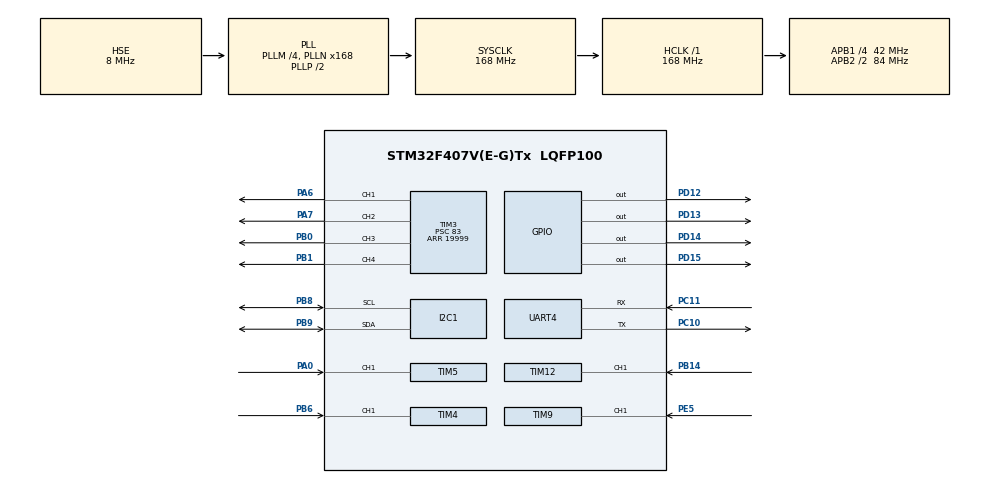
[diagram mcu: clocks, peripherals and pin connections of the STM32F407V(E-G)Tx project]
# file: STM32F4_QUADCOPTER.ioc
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I2C1.I2C_Mode=I2C_Fast
Mcu.Family=STM32F4
Mcu.Name=STM32F407V(E-G)Tx
Mcu.Package=LQFP100
NVIC.PriorityGroup=NVIC_PRIORITYGROUP_4
NVIC.TIM1_BRK_TIM9_IRQn=true\:0\:0\:false\:false\:true\:true\:true
NVIC.TIM2_IRQn=true\:0\:0\:false\:false\:true\:true\:true
NVIC.TIM4_IRQn=true\:0\:0\:false\:false\:true\:true\:true
NVIC.TIM5_IRQn=true\:0\:0\:false\:false\:true\:true\:true
NVIC.TIM8_BRK_TIM12_IRQn=true\:0\:0\:false\:false\:true\:true\:true
PA0-WKUP.GPIO_Speed=GPIO_SPEED_FREQ_VERY_HIGH
PA0-WKUP.Signal=S_TIM5_CH1
PA6.GPIO_Speed=GPIO_SPEED_FREQ_VERY_HIGH
PA6.Signal=S_TIM3_CH1
PA7.GPIO_Speed=GPIO_SPEED_FREQ_VERY_HIGH
PA7.Signal=S_TIM3_CH2
PB0.GPIO_Speed=GPIO_SPEED_FREQ_VERY_HIGH
PB0.Signal=S_TIM3_CH3
PB1.GPIO_Speed=GPIO_SPEED_FREQ_VERY_HIGH
PB1.Signal=S_TIM3_CH4
PB14.GPIO_Speed=GPIO_SPEED_FREQ_VERY_HIGH
PB14.Signal=S_TIM12_CH1
PB6.GPIO_Speed=GPIO_SPEED_FREQ_VERY_HIGH
PB6.Signal=S_TIM4_CH1
PB8.Mode=I2C
PB8.Signal=I2C1_SCL
PB9.Mode=I2C
PB9.Signal=I2C1_SDA
PC10.Mode=Asynchronous
PC10.Signal=UART4_TX
PC11.Mode=Asynchronous
PC11.Signal=UART4_RX
PD12.GPIO_Speed=GPIO_SPEED_FREQ_VERY_HIGH
PD12.PinState=GPIO_PIN_RESET
PD12.Signal=GPIO_Output
PD13.GPIO_Speed=GPIO_SPEED_FREQ_VERY_HIGH
PD13.Signal=GPIO_Output
PD14.GPIO_Speed=GPIO_SPEED_FREQ_VERY_HIGH
PD14.Signal=GPIO_Output
PD15.GPIO_Speed=GPIO_SPEED_FREQ_VERY_HIGH
PD15.Signal=GPIO_Output
PE5.GPIO_Speed=GPIO_SPEED_FREQ_VERY_HIGH
PE5.Signal=S_TIM9_CH1
PH0-OSC_IN.Mode=HSE-External-Oscillator
PH0-OSC_IN.Signal=RCC_OSC_IN
PH1-OSC_OUT.Mode=HSE-External-Oscillator
PH1-OSC_OUT.Signal=RCC_OSC_OUT
ProjectManager.HeapSize=0x200
ProjectManager.StackSize=0x400
ProjectManager.TargetToolchain=STM32CubeIDE
RCC.48MHZClocksFreq_Value=84000000
RCC.AHBFreq_Value=168000000
RCC.APB1CLKDivider=RCC_HCLK_DIV4
RCC.APB1Freq_Value=42000000
RCC.APB1TimFreq_Value=84000000
RCC.APB2CLKDivider=RCC_HCLK_DIV2
RCC.APB2Freq_Value=84000000
RCC.APB2TimFreq_Value=168000000
RCC.CortexFreq_Value=168000000
RCC.HCLKFreq_Value=168000000
RCC.HSE_VALUE=8000000
RCC.HSI_VALUE=16000000
RCC.LSE_VALUE=32768
RCC.PLLM=4
RCC.PLLN=168
RCC.PLLSourceVirtual=RCC_PLLSOURCE_HSE
RCC.SYSCLKFreq_VALUE=168000000
RCC.SYSCLKSource=RCC_SYSCLKSOURCE_PLLCLK
RCC.VCOOutputFreq_Value=336000000
SH.S_TIM12_CH1.0=TIM12_CH1,TriggerSource_TI1FP1
SH.S_TIM12_CH1.1=TIM12_CH1,Input_Capture1_from_TI1
SH.S_TIM12_CH1.2=TIM12_CH1,Input_Capture2_from_TI1
SH.S_TIM3_CH1.0=TIM3_CH1,PWM Generation1 CH1
SH.S_TIM3_CH2.0=TIM3_CH2,PWM Generation2 CH2
SH.S_TIM3_CH3.0=TIM3_CH3,PWM Generation3 CH3
SH.S_TIM3_CH4.0=TIM3_CH4,PWM Generation4 CH4
SH.S_TIM4_CH1.0=TIM4_CH1,Input_Capture1_from_TI1
SH.S_TIM4_CH1.1=TIM4_CH1,Input_Capture2_from_TI1
SH.S_TIM4_CH1.2=TIM4_CH1,TriggerSource_TI1FP1
SH.S_TIM5_CH1.0=TIM5_CH1,TriggerSource_TI1FP1
SH.S_TIM5_CH1.1=TIM5_CH1,Input_Capture1_from_TI1
SH.S_TIM5_CH1.2=TIM5_CH1,Input_Capture2_from_TI1
SH.S_TIM9_CH1.0=TIM9_CH1,TriggerSource_TI1FP1
SH.S_TIM9_CH1.1=TIM9_CH1,Input_Capture1_from_TI1
SH.S_TIM9_CH1.2=TIM9_CH1,Input_Capture2_from_TI1
TIM12.Channel-Input_Capture1_from_TI1=TIM_CHANNEL_1
TIM12.Channel-Input_Capture2_from_TI1=TIM_CHANNEL_2
TIM12.ICPolarity_CH2=TIM_INPUTCHANNELPOLARITY_FALLING
TIM12.Period=0xffff
TIM12.Prescaler=999
TIM2.AutoReloadPreload=TIM_AUTORELOAD_PRELOAD_ENABLE
TIM2.Period=9
TIM2.Prescaler=8399
TIM3.AutoReloadPreload=TIM_AUTORELOAD_PRELOAD_ENABLE
TIM3.Channel-PWM\ Generation1\ CH1=TIM_CHANNEL_1
TIM3.Channel-PWM\ Generation2\ CH2=TIM_CHANNEL_2
TIM3.Channel-PWM\ Generation3\ CH3=TIM_CHANNEL_3
TIM3.Channel-PWM\ Generation4\ CH4=TIM_CHANNEL_4
TIM3.Period=19999
TIM3.Prescaler=83
TIM3.Pulse-PWM\ Generation1\ CH1=1000
TIM3.Pulse-PWM\ Generation2\ CH2=1000
TIM3.Pulse-PWM\ Generation3\ CH3=1000
TIM3.Pulse-PWM\ Generation4\ CH4=1000
TIM4.Channel-Input_Capture1_from_TI1=TIM_CHANNEL_1
TIM4.Channel-Input_Capture2_from_TI1=TIM_CHANNEL_2
TIM4.ICPolarity_CH2=TIM_INPUTCHANNELPOLARITY_FALLING
TIM4.Period=0xffff
TIM4.Prescaler=999
TIM5.Channel-Input_Capture1_from_TI1=TIM_CHANNEL_1
TIM5.Channel-Input_Capture2_from_TI1=TIM_CHANNEL_2
TIM5.ICPolarity_CH2=TIM_INPUTCHANNELPOLARITY_FALLING
TIM5.Period=0xffff
TIM5.Prescaler=999
TIM9.Channel-Input_Capture1_from_TI1=TIM_CHANNEL_1
TIM9.Channel-Input_Capture2_from_TI1=TIM_CHANNEL_2
TIM9.ICPolarity_CH2=TIM_INPUTCHANNELPOLARITY_FALLING
TIM9.Period=0xffff
TIM9.Prescaler=999
UART4.VirtualMode=Asynchronous
VP_TIM12_VS_ControllerModeReset.Mode=Reset Mode
VP_TIM2_VS_ClockSourceINT.Mode=Internal
VP_TIM3_VS_ClockSourceINT.Mode=Internal
VP_TIM4_VS_ControllerModeReset.Mode=Reset Mode
VP_TIM5_VS_ControllerModeReset.Mode=Reset Mode
VP_TIM9_VS_ControllerModeReset.Mode=Reset Mode
board=custom

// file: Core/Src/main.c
/* USER CODE BEGIN Header */
/**
  ******************************************************************************
  * @file           : main.c
  * @brief          : Main program body
  ******************************************************************************
  * @attention
  *
  * <h2><center>&copy; Copyright (c) 2020 STMicroelectronics.
  * All rights reserved.</center></h2>
  *
  * This software component is licensed by ST under BSD 3-Clause license,
  * the "License"; You may not use this file except in compliance with the
  * License. You may obtain a copy of the License at:
  *                        opensource.org/licenses/BSD-3-Clause
  *
  ******************************************************************************
  */
/* USER CODE END Header */

#include "main.h"

// Variable for I2C
I2C_HandleTypeDef hi2c1;

// Variable for Timer2
TIM_HandleTypeDef htim2;

// Variable for Timer3 control ESC
TIM_HandleTypeDef htim3;

// Variable for Timer4, 5, 9, 12 monitor RX controller
TIM_HandleTypeDef htim4;
TIM_HandleTypeDef htim5;
TIM_HandleTypeDef htim9;
TIM_HandleTypeDef htim12;

// Variable for UART communicate with CC2530
UART_HandleTypeDef huart4;

// Declare function in stdio.h
int	sprintf (char *__restrict, const char *__restrict, ...)
               _ATTRIBUTE ((__format__ (__printf__, 2, 3)));
// Declare function configure below main function
void SystemClock_Config(void);
static void MX_GPIO_Init(void);
static void MX_I2C1_Init(void);
static void MX_TIM2_Init(void);
static void MX_TIM3_Init(void);
static void MX_TIM4_Init(void);
static void MX_TIM5_Init(void);
static void MX_TIM9_Init(void);
static void MX_TIM12_Init(void);
static void MX_UART4_Init(void);
void HardFault_Handler(void);

// Declare function Delay polling
void EnableTiming(void);
void WaitASecond(void);
void WaitAFewMillis(int16_t millis);

// Declare function PWM control ESC with motor brushless
void InitialisePWM();
DutyCycle InitialisePWMChannel(uint8_t channel);

// Declare function ON/OFF Leds on board
void TurnOn(uint16_t);
void TurnOff(uint16_t);

// Declare function Remote control receive signal from RX controller
void InitialiseRemoteControls();
float ReadRemoteThrottle();
float ReadRemotePidProportional();
float ReadRemotePidIntegral();
float ReadResetAngularPosition();

// Declare function to read Angular position(Pitch, Roll, Yaw):
//   Current implemented using Accelerometer sensor (Position X(Pitch), Y(Roll))
//     Need improvement using Gyroscope sensor (Position X(P), Y(R), Z(Yaw))
void InitialiseAngularPosition();
void ReadAngularPosition();

// Declare function PID to calibration Quadcopter
struct Pid InitialisePid(float proportional, float integral, float differential);
float CalculatePidAdjustment(Pid* pid, float current, float target);

// Declare function for Panic
void InitialisePanicButton();
void ClearWarnings(void);

// Declare function for Analytics
void RecordIntegerMetric(uint8_t type, uint8_t loopReference, uint32_t value);
void RecordFloatMetric(uint8_t type, uint8_t loopReference, float value);
void FlushMetrics(void);
void FlushAllMetrics(void);

/* USER CODE BEGIN PFP */

// Interrupt call back for user implement process pwm input
void HAL_TIM_IC_CaptureCallback(TIM_HandleTypeDef *htim);
void HAL_TIM_PeriodElapsedCallback(TIM_HandleTypeDef *htim);

/* USER CODE END PFP */

int main(void)
{

  /* MCU Configuration--------------------------------------------------------*/

  /* Reset of all peripherals, Initializes the Flash interface and the Systick. */
  HAL_Init();

  /* Configure the system clock */
  SystemClock_Config();

  /* Initialize all configured peripherals */
  // Initialize for Leds on board
  MX_GPIO_Init();
  // Initialize for I2C communicate with sensor GY-85
  MX_I2C1_Init();
  // Initialize for timer count mili second
  MX_TIM2_Init();
  // Initialize for Timer control ESC with brushless motor
  MX_TIM3_Init();
  //Initialize 4 channel Input_Capture signal from RX controller
  MX_TIM4_Init();
  MX_TIM5_Init();
  MX_TIM9_Init();
  MX_TIM12_Init();
  // Initialize UART communicate with CC2530 transfer data to server Laptop
  MX_UART4_Init();
  // Enable timing to using delay function with DWDGT
  EnableTiming();

  /* USER CODE BEGIN 2 */
  // Set interrupt 4 timer for channel 1&2 with mode Input Capture
  HAL_TIM_IC_Start_IT(&htim4, TIM_CHANNEL_1);
  HAL_TIM_IC_Start_IT(&htim5, TIM_CHANNEL_1);
  HAL_TIM_IC_Start_IT(&htim9, TIM_CHANNEL_1);
  HAL_TIM_IC_Start_IT(&htim12, TIM_CHANNEL_1);
  HAL_TIM_IC_Start_IT(&htim4, TIM_CHANNEL_2);
  HAL_TIM_IC_Start_IT(&htim5, TIM_CHANNEL_2);
  HAL_TIM_IC_Start_IT(&htim9, TIM_CHANNEL_2);
  HAL_TIM_IC_Start_IT(&htim12, TIM_CHANNEL_2);

  // Initialize panic
  InitialisePanicButton();
  TurnOn(ORANGE_LED);

  // Initialize timer tick 1 mili second
  HAL_TIM_Base_Start_IT(&htim2);

  // Initialize PWM control ESC
  // Initialize PWM channel control ESC
	DutyCycle aProp = InitialisePWMChannel(1);
	DutyCycle cProp = InitialisePWMChannel(2);
	DutyCycle eProp = InitialisePWMChannel(3);
	DutyCycle bProp = InitialisePWMChannel(4);
  InitialisePWM();
  WaitAFewMillis(3000);

  //InitialiseI2C();	// PB.08 (SCL), PB.09 (SDA)
  Pid xAxisPid = InitialisePid(3, 0, 0);
  Pid yAxisPid = InitialisePid(3, 0, 0);

  // Initialize remote control detail channel RC and pin refer to file
  InitialiseRemoteControls();

  /* USER CODE END 2 */

  // Initialize InitialiseAngularPosition
  InitialiseAngularPosition();

  // Identify change status initialize done, next step waiting arming quad
  TurnOff(ORANGE_LED);
  TurnOn(YELLOW_LED);

  /* turn the motors off, until we get the go ahead from the user */
  uint8_t armingSequenceStep = ARMING_SEQUENCE_LOW_THROTTLE_REQUIRED;
  uint32_t armingSequenceTimeLastStepExecuted = 0;

  bProp.set(1000);
  eProp.set(1000);
  cProp.set(1000);
  aProp.set(1000);

  while (armingSequenceStep != ARMING_SEQUENCE_ARMED || ARMING_SEQUENCE_IS_DISABLED) {
    float thrust = ReadRemoteThrottle();
    if (secondsElapsed > armingSequenceTimeLastStepExecuted) {
      if ((armingSequenceStep == ARMING_SEQUENCE_LOW_THROTTLE_REQUIRED) && (thrust == 0.0)) {
        armingSequenceStep = ARMING_SEQUENCE_HIGH_THROTTLE_REQUIRED;
        armingSequenceTimeLastStepExecuted = secondsElapsed;
      }
      else if (armingSequenceStep == ARMING_SEQUENCE_HIGH_THROTTLE_REQUIRED && thrust == 100.0) {
        armingSequenceStep = ARMING_SEQUENCE_LOW_THROTTLE_REQUIRED_AGAIN;
        armingSequenceTimeLastStepExecuted = secondsElapsed;
      }
      else if (armingSequenceStep == ARMING_SEQUENCE_LOW_THROTTLE_REQUIRED_AGAIN && thrust == 0.0) {
        armingSequenceStep = ARMING_SEQUENCE_ARMED;
        armingSequenceTimeLastStepExecuted = secondsElapsed;
        TurnOff(YELLOW_LED);
        TurnOn(BLUE_LED);
      }
     }
     WaitAFewMillis(10);
  }

  uint8_t data_recevie[3]={0};
  uint16_t loopsPerSecond = 0;
  uint32_t thisSecond = 0;
  /* Infinite loop */
  while (1)
  {
//	  // Wait 1s to initialize ESC
//	  WaitAFewMillis(3000);
//	  aProp.set(1230);
//	  bProp.set(1230);
//	  cProp.set(1230);
//	  dProp.set(1230);
//	  TurnOn(YELLOW_LED);
//	  WaitAFewMillis(3000);
//	  TurnOff(YELLOW_LED);
//	  WaitAFewMillis(3000);
//	  thrust = ReadRemoteThrottle();
//	  rudder = ReadRemotePidProportional();
//	  aileron = ReadRemotePidIntegral();
//	  elevator = ReadResetAngularPosition();
//	  HAL_UART_Receive(&huart4, data_recevie, sizeof(data_recevie), 10);
//	  if(data_recevie[0]=='O' && data_recevie[1]=='N')
//	  {
		  loopsPerSecond++;
			ReadAngularPosition();

			float thrust = ReadRemoteThrottle();
			float baseMotorSpeed = 0;
			float motorAdjustment = 0;
			float bMotorSpeed = 0.0;
			float eMotorSpeed = 0.0;
			float cMotorSpeed = 0.0;
			float aMotorSpeed = 0.0;
			float xAdjustment = 0.0;
			float yAdjustment = 0.0;

			if ((armingSequenceStep != ARMING_SEQUENCE_ARMED || ARMING_SEQUENCE_IS_DISABLED) && secondsElapsed > armingSequenceTimeLastStepExecuted) {
				if (armingSequenceStep == ARMING_SEQUENCE_LOW_THROTTLE_REQUIRED && thrust == 0.0) {
					armingSequenceStep = ARMING_SEQUENCE_HIGH_THROTTLE_REQUIRED;
					armingSequenceTimeLastStepExecuted = secondsElapsed;

				} else if (armingSequenceStep == ARMING_SEQUENCE_HIGH_THROTTLE_REQUIRED && thrust == 100.0) {
					armingSequenceStep = ARMING_SEQUENCE_LOW_THROTTLE_REQUIRED_AGAIN;
					armingSequenceTimeLastStepExecuted = secondsElapsed;

				} else if (armingSequenceStep == ARMING_SEQUENCE_LOW_THROTTLE_REQUIRED_AGAIN && thrust == 0.0) {
					armingSequenceStep = ARMING_SEQUENCE_ARMED;
					armingSequenceTimeLastStepExecuted = secondsElapsed;

					TurnOff(YELLOW_LED);
					TurnOn(BLUE_LED);
				}
			} else if (armingSequenceStep == ARMING_SEQUENCE_ARMED) {
				xAdjustment = CalculatePidAdjustment(&xAxisPid, angularPosition.x, 0.0);
				yAdjustment = CalculatePidAdjustment(&yAxisPid, angularPosition.y, 0.0);

				if (xAdjustment < PID_MINIMUM_BOUND) { xAdjustment = PID_MINIMUM_BOUND; }
				if (xAdjustment > PID_MAXIMUM_BOUND) { xAdjustment = PID_MAXIMUM_BOUND; }
				if (yAdjustment < PID_MINIMUM_BOUND) { yAdjustment = PID_MINIMUM_BOUND; }
				if (yAdjustment > PID_MAXIMUM_BOUND) { yAdjustment = PID_MAXIMUM_BOUND; }

				if (thrust == 0.0) {
					/* always turn it off when the throttle is zero, independent of throttle constants */
					bProp.set(1000);
					eProp.set(1000);
					cProp.set(1000);
					aProp.set(1000);
				} else {
					/* throttle is converted to a range of -50 to +50 */
					baseMotorSpeed = MOTOR_SPEED_REQUIRED_FOR_LIFT + (THROTTLE_SENSITIVITY * (thrust - 50.0));

					bMotorSpeed = baseMotorSpeed + yAdjustment;
					eMotorSpeed = baseMotorSpeed - yAdjustment;
					cMotorSpeed = baseMotorSpeed + xAdjustment;
					aMotorSpeed = baseMotorSpeed - xAdjustment;

					/* adjust all motor speeds if one motor is outside motor speed bounds */
					/* this is a deliberate choice to prioritise desired angular position over desired thrust */
					float smallestMotorSpeed = MAXIMUM_MOTOR_SPEED;
					float largestMotorSpeed = MINIMUM_MOTOR_SPEED;

					if (bMotorSpeed < smallestMotorSpeed) { smallestMotorSpeed = bMotorSpeed; }
					if (bMotorSpeed > largestMotorSpeed) { largestMotorSpeed = bMotorSpeed; }
					if (eMotorSpeed < smallestMotorSpeed) { smallestMotorSpeed = eMotorSpeed; }
					if (eMotorSpeed > largestMotorSpeed) { largestMotorSpeed = eMotorSpeed; }
					if (cMotorSpeed < smallestMotorSpeed) { smallestMotorSpeed = cMotorSpeed; }
					if (cMotorSpeed > largestMotorSpeed) { largestMotorSpeed = cMotorSpeed; }
					if (aMotorSpeed < smallestMotorSpeed) { smallestMotorSpeed = aMotorSpeed; }
					if (aMotorSpeed > largestMotorSpeed) { largestMotorSpeed = aMotorSpeed; }

					if (smallestMotorSpeed < MINIMUM_MOTOR_SPEED) {
						motorAdjustment = MINIMUM_MOTOR_SPEED - smallestMotorSpeed;
					} else if (largestMotorSpeed > MAXIMUM_MOTOR_SPEED) {
						motorAdjustment = MAXIMUM_MOTOR_SPEED - largestMotorSpeed;
					}

					/* apply adjusted motor speeds to the motors */
					bMotorSpeed = bMotorSpeed + motorAdjustment;
					eMotorSpeed = eMotorSpeed + motorAdjustment;
					cMotorSpeed = cMotorSpeed + motorAdjustment;
					aMotorSpeed = aMotorSpeed + motorAdjustment;

					bProp.set(bMotorSpeed);
					eProp.set(eMotorSpeed);
					cProp.set(cMotorSpeed);
					aProp.set(aMotorSpeed);
				}
			}

			if (thisSecond != secondsElapsed) {
				uint8_t loopReference = rand() & 0xFF;

//				RecordIntegerMetric(METRIC_SECONDS_ELAPSED, loopReference, secondsElapsed);
//				RecordIntegerMetric(METRIC_LOOP_FREQUENCY, loopReference, loopsPerSecond);
//				RecordFloatMetric(METRIC_GYROSCOPE_X_POSITION, loopReference, gyroscopeReading.x);
//				RecordFloatMetric(METRIC_GYROSCOPE_Y_POSITION, loopReference, gyroscopeReading.y);
//				RecordFloatMetric(METRIC_GYROSCOPE_Z_POSITION, loopReference, gyroscopeReading.z);
//				RecordFloatMetric(METRIC_GYROSCOPE_TEMPERATURE, loopReference, gyroscopeReading.gyroscopeTemperature);
//				RecordIntegerMetric(METRIC_GYROSCOPE_SAMPLE_RATE, loopReference, gyroscopeReading.readings);
//				RecordFloatMetric(METRIC_PROPELLOR_B_SPEED, loopReference, bMotorSpeed);
//				RecordFloatMetric(METRIC_PROPELLOR_E_SPEED, loopReference, eMotorSpeed);
//				RecordFloatMetric(METRIC_PROPELLOR_C_SPEED, loopReference, cMotorSpeed);
//				RecordFloatMetric(METRIC_PROPELLOR_A_SPEED, loopReference, aMotorSpeed);
//				RecordFloatMetric(METRIC_PID_X_ADJUSTMENT, loopReference, xAdjustment);
//				RecordFloatMetric(METRIC_PID_Y_ADJUSTMENT, loopReference, yAdjustment);
//				RecordFloatMetric(METRIC_REMOTE_PID_PROPORTIONAL, loopReference, xAxisPid.proportional);
				RecordFloatMetric(METRIC_REMOTE_THROTTLE, loopReference, thrust);
				RecordFloatMetric(METRIC_ACCELEROMETER_X_POSITION, loopReference, accelerometerReading.x);
				RecordFloatMetric(METRIC_ACCELEROMETER_Y_POSITION, loopReference, accelerometerReading.y);
//				RecordFloatMetric(METRIC_ACCELEROMETER_Z_POSITION, loopReference, accelerometerReading.z);
//				RecordIntegerMetric(METRIC_ACCELEROMETER_SAMPLE_RATE, loopReference, accelerometerReading.readings);
//				RecordFloatMetric(METRIC_ANGULAR_X_POSITION, loopReference, angularPosition.x);
//				RecordFloatMetric(METRIC_ANGULAR_Y_POSITION, loopReference, angularPosition.y);
//				RecordFloatMetric(METRIC_ANGULAR_Z_POSITION, loopReference, angularPosition.z);
//				RecordIntegerMetric(METRIC_METRICS_BUFFER_SIZE, loopReference, metricsRingBuffer.count);
				RecordFloatMetric(METRIC_DEBUG_VALUE_1, loopReference, baseMotorSpeed);
				RecordFloatMetric(METRIC_DEBUG_VALUE_2, loopReference, motorAdjustment);

				loopsPerSecond = 0;
				accelerometerReading.readings = 0;
				gyroscopeReading.readings = 0;
				thisSecond = secondsElapsed;
				ClearWarnings();
			}

			if (intermediateMillis % ANALYTICS_FLUSH_FREQUENCY == 0) {
				FlushMetrics();
			}
//	  }
//	  else{
//	  	// Stop ESC
//			bProp.set(1000);
//			eProp.set(1000);
//			cProp.set(1000);
//			aProp.set(1000);
//	  }
  }
}

/**
  * @brief Callback function delay 1 mili second
  * @param stucture of htime
  * @retval None
  */
void HAL_TIM_PeriodElapsedCallback(TIM_HandleTypeDef *htim){
	// Check correct timer 2
	if(htim->Instance == htim2.Instance){
		intermediateMillis++;					// Increase milisecond
		if (intermediateMillis % 1000 == 0) {
			secondsElapsed++;					// Increase second
		}

		// After 49 days, what to do? Kaboom! Until we require something better.
		// Check if milisecond max is 0xffffffff (UINT_LEAST32_MAX)
		if (intermediateMillis == UINT_LEAST32_MAX) {
			HardFault_Handler();				//Call function in stm32f4xx_it.h to monitor to user
		}
	}
}

/**
  * @brief Callback function for pwm input
  * @param stucture of htime
  * @retval None
  */
void HAL_TIM_IC_CaptureCallback(TIM_HandleTypeDef *htim)
{
	uint32_t IC1Value = 0;
	uint32_t IC2Value = 0;
	float updatedDutyCycle = 0;
	float updatedFrequency = 0;
	if(htim->Channel == HAL_TIM_ACTIVE_CHANNEL_1)
	{
		IC1Value = HAL_TIM_ReadCapturedValue(htim, TIM_CHANNEL_1);
		if(IC1Value!=0)
		{
			IC2Value = HAL_TIM_ReadCapturedValue(htim, TIM_CHANNEL_2);
			updatedDutyCycle = ((IC2Value*100.0f)/IC1Value);
			if (htim->Instance == htim4.Instance){
				updatedFrequency = \
				  ((HAL_RCC_GetHCLKFreq() / (pwmInputTimer4.hclckDivisor)) \
				  /(IC1Value*1000));
			}
			else if (htim->Instance == htim5.Instance){
				updatedFrequency = \
				  ((HAL_RCC_GetHCLKFreq() / (pwmInputTimer5.hclckDivisor)) \
				  /(IC1Value*1000));
			}
			else if (htim->Instance == htim9.Instance){
				updatedFrequency = \
				  ((HAL_RCC_GetHCLKFreq() / (pwmInputTimer9.hclckDivisor)) \
				  /(IC1Value*1000));
			}
			else if (htim->Instance == htim12.Instance){
				updatedFrequency = \
				  ((HAL_RCC_GetHCLKFreq() / (pwmInputTimer12.hclckDivisor)) \
				  /(IC1Value*1000));
			}
			/* eliminate noise that is more than twice the previous duty cycle */
			if (isnan(updatedDutyCycle)
				|| isnan(updatedFrequency)
				|| updatedDutyCycle <= 0.0
				|| updatedFrequency <= 0.0
				|| IC1Value == IC2Value){
				return;
			}
			if (htim->Instance == htim4.Instance){
				pwmInputTimer4.dutyCycle = updatedDutyCycle;
				pwmInputTimer4.frequency = updatedFrequency;
			}
			else if (htim->Instance == htim5.Instance){
				pwmInputTimer5.dutyCycle = updatedDutyCycle;
				pwmInputTimer5.frequency = updatedFrequency;
			}
			else if (htim->Instance == htim9.Instance){
				pwmInputTimer9.dutyCycle = updatedDutyCycle;
				pwmInputTimer9.frequency = updatedFrequency*2;
			}
			else if (htim->Instance == htim12.Instance){
				pwmInputTimer12.dutyCycle = updatedDutyCycle;
				pwmInputTimer12.frequency = updatedFrequency;
			}
		}
		else
		{
			/* Do nothing */
		}
	}
}

void SystemClock_Config(void)
{
  RCC_OscInitTypeDef RCC_OscInitStruct = {0};
  RCC_ClkInitTypeDef RCC_ClkInitStruct = {0};

  /** Configure the main internal regulator output voltage
  */
  __HAL_RCC_PWR_CLK_ENABLE();
  __HAL_PWR_VOLTAGESCALING_CONFIG(PWR_REGULATOR_VOLTAGE_SCALE1);
  /** Initializes the CPU, AHB and APB busses clocks
  */
  RCC_OscInitStruct.OscillatorType = RCC_OSCILLATORTYPE_HSE;
  RCC_OscInitStruct.HSEState = RCC_HSE_ON;
  RCC_OscInitStruct.PLL.PLLState = RCC_PLL_ON;
  RCC_OscInitStruct.PLL.PLLSource = RCC_PLLSOURCE_HSE;
  RCC_OscInitStruct.PLL.PLLM = 4;
  RCC_OscInitStruct.PLL.PLLN = 168;
  RCC_OscInitStruct.PLL.PLLP = RCC_PLLP_DIV2;
  RCC_OscInitStruct.PLL.PLLQ = 4;
  if (HAL_RCC_OscConfig(&RCC_OscInitStruct) != HAL_OK)
  {
    Error_Handler();
  }
  /** Initializes the CPU, AHB and APB busses clocks
  */
  RCC_ClkInitStruct.ClockType = RCC_CLOCKTYPE_HCLK|RCC_CLOCKTYPE_SYSCLK
                              |RCC_CLOCKTYPE_PCLK1|RCC_CLOCKTYPE_PCLK2;
  RCC_ClkInitStruct.SYSCLKSource = RCC_SYSCLKSOURCE_PLLCLK;
  RCC_ClkInitStruct.AHBCLKDivider = RCC_SYSCLK_DIV1;
  RCC_ClkInitStruct.APB1CLKDivider = RCC_HCLK_DIV4;
  RCC_ClkInitStruct.APB2CLKDivider = RCC_HCLK_DIV2;

  if (HAL_RCC_ClockConfig(&RCC_ClkInitStruct, FLASH_LATENCY_5) != HAL_OK)
  {
    Error_Handler();
  }
}

static void MX_I2C1_Init(void)
{

  hi2c1.Instance = I2C1;
  hi2c1.Init.ClockSpeed = 400000;
  hi2c1.Init.DutyCycle = I2C_DUTYCYCLE_2;
  hi2c1.Init.OwnAddress1 = 0;
  hi2c1.Init.AddressingMode = I2C_ADDRESSINGMODE_7BIT;
  hi2c1.Init.DualAddressMode = I2C_DUALADDRESS_DISABLE;
  hi2c1.Init.OwnAddress2 = 0;
  hi2c1.Init.GeneralCallMode = I2C_GENERALCALL_DISABLE;
  hi2c1.Init.NoStretchMode = I2C_NOSTRETCH_DISABLE;
  if (HAL_I2C_Init(&hi2c1) != HAL_OK)
  {
    Error_Handler();
  }

}

static void MX_TIM2_Init(void)
{

  TIM_ClockConfigTypeDef sClockSourceConfig = {0};
  TIM_MasterConfigTypeDef sMasterConfig = {0};

  htim2.Instance = TIM2;
  htim2.Init.Prescaler = 8399;
  htim2.Init.CounterMode = TIM_COUNTERMODE_UP;
  htim2.Init.Period = 9;
  htim2.Init.ClockDivision = TIM_CLOCKDIVISION_DIV1;
  htim2.Init.AutoReloadPreload = TIM_AUTORELOAD_PRELOAD_ENABLE;
  if (HAL_TIM_Base_Init(&htim2) != HAL_OK)
  {
    Error_Handler();
  }
  sClockSourceConfig.ClockSource = TIM_CLOCKSOURCE_INTERNAL;
  if (HAL_TIM_ConfigClockSource(&htim2, &sClockSourceConfig) != HAL_OK)
  {
    Error_Handler();
  }
  sMasterConfig.MasterOutputTrigger = TIM_TRGO_RESET;
  sMasterConfig.MasterSlaveMode = TIM_MASTERSLAVEMODE_DISABLE;
  if (HAL_TIMEx_MasterConfigSynchronization(&htim2, &sMasterConfig) != HAL_OK)
  {
    Error_Handler();
  }

}

static void MX_TIM3_Init(void)
{

  TIM_ClockConfigTypeDef sClockSourceConfig = {0};
  TIM_MasterConfigTypeDef sMasterConfig = {0};
  TIM_OC_InitTypeDef sConfigOC = {0};

  htim3.Instance = TIM3;
  htim3.Init.Prescaler = 83;
  htim3.Init.CounterMode = TIM_COUNTERMODE_UP;
  htim3.Init.Period = 19999;
  htim3.Init.ClockDivision = TIM_CLOCKDIVISION_DIV1;
  htim3.Init.AutoReloadPreload = TIM_AUTORELOAD_PRELOAD_ENABLE;
  if (HAL_TIM_Base_Init(&htim3) != HAL_OK)
  {
    Error_Handler();
  }
  sClockSourceConfig.ClockSource = TIM_CLOCKSOURCE_INTERNAL;
  if (HAL_TIM_ConfigClockSource(&htim3, &sClockSourceConfig) != HAL_OK)
  {
    Error_Handler();
  }
  if (HAL_TIM_PWM_Init(&htim3) != HAL_OK)
  {
    Error_Handler();
  }
  sMasterConfig.MasterOutputTrigger = TIM_TRGO_RESET;
  sMasterConfig.MasterSlaveMode = TIM_MASTERSLAVEMODE_DISABLE;
  if (HAL_TIMEx_MasterConfigSynchronization(&htim3, &sMasterConfig) != HAL_OK)
  {
    Error_Handler();
  }
  sConfigOC.OCMode = TIM_OCMODE_PWM1;
  sConfigOC.Pulse = 1000;
  sConfigOC.OCPolarity = TIM_OCPOLARITY_HIGH;
  sConfigOC.OCFastMode = TIM_OCFAST_DISABLE;
  if (HAL_TIM_PWM_ConfigChannel(&htim3, &sConfigOC, TIM_CHANNEL_1) != HAL_OK)
  {
    Error_Handler();
  }
  if (HAL_TIM_PWM_ConfigChannel(&htim3, &sConfigOC, TIM_CHANNEL_2) != HAL_OK)
  {
    Error_Handler();
  }
  if (HAL_TIM_PWM_ConfigChannel(&htim3, &sConfigOC, TIM_CHANNEL_3) != HAL_OK)
  {
    Error_Handler();
  }
  if (HAL_TIM_PWM_ConfigChannel(&htim3, &sConfigOC, TIM_CHANNEL_4) != HAL_OK)
  {
    Error_Handler();
  }
  HAL_TIM_MspPostInit(&htim3);

}

static void MX_TIM4_Init(void)
{

  TIM_SlaveConfigTypeDef sSlaveConfig = {0};
  TIM_MasterConfigTypeDef sMasterConfig = {0};
  TIM_IC_InitTypeDef sConfigIC = {0};

  htim4.Instance = TIM4;
  htim4.Init.Prescaler = 999;
  htim4.Init.CounterMode = TIM_COUNTERMODE_UP;
  htim4.Init.Period = 0xffff;
  htim4.Init.ClockDivision = TIM_CLOCKDIVISION_DIV1;
  htim4.Init.AutoReloadPreload = TIM_AUTORELOAD_PRELOAD_DISABLE;
  if (HAL_TIM_Base_Init(&htim4) != HAL_OK)
  {
    Error_Handler();
  }
  if (HAL_TIM_IC_Init(&htim4) != HAL_OK)
  {
    Error_Handler();
  }
  sSlaveConfig.SlaveMode = TIM_SLAVEMODE_RESET;
  sSlaveConfig.InputTrigger = TIM_TS_TI1FP1;
  sSlaveConfig.TriggerPolarity = TIM_INPUTCHANNELPOLARITY_RISING;
  sSlaveConfig.TriggerFilter = 0;
  if (HAL_TIM_SlaveConfigSynchro(&htim4, &sSlaveConfig) != HAL_OK)
  {
    Error_Handler();
  }
  sMasterConfig.MasterOutputTrigger = TIM_TRGO_RESET;
  sMasterConfig.MasterSlaveMode = TIM_MASTERSLAVEMODE_DISABLE;
  if (HAL_TIMEx_MasterConfigSynchronization(&htim4, &sMasterConfig) != HAL_OK)
  {
    Error_Handler();
  }
  sConfigIC.ICPolarity = TIM_INPUTCHANNELPOLARITY_RISING;
  sConfigIC.ICSelection = TIM_ICSELECTION_DIRECTTI;
  sConfigIC.ICPrescaler = TIM_ICPSC_DIV1;
  sConfigIC.ICFilter = 0;
  if (HAL_TIM_IC_ConfigChannel(&htim4, &sConfigIC, TIM_CHANNEL_1) != HAL_OK)
  {
    Error_Handler();
  }
  sConfigIC.ICPolarity = TIM_INPUTCHANNELPOLARITY_FALLING;
  sConfigIC.ICSelection = TIM_ICSELECTION_INDIRECTTI;
  if (HAL_TIM_IC_ConfigChannel(&htim4, &sConfigIC, TIM_CHANNEL_2) != HAL_OK)
  {
    Error_Handler();
  }

}

static void MX_TIM5_Init(void)
{

  TIM_SlaveConfigTypeDef sSlaveConfig = {0};
  TIM_MasterConfigTypeDef sMasterConfig = {0};
  TIM_IC_InitTypeDef sConfigIC = {0};

  htim5.Instance = TIM5;
  htim5.Init.Prescaler = 999;
  htim5.Init.CounterMode = TIM_COUNTERMODE_UP;
  htim5.Init.Period = 0xffff;
  htim5.Init.ClockDivision = TIM_CLOCKDIVISION_DIV1;
  htim5.Init.AutoReloadPreload = TIM_AUTORELOAD_PRELOAD_DISABLE;
  if (HAL_TIM_Base_Init(&htim5) != HAL_OK)
  {
    Error_Handler();
  }
  if (HAL_TIM_IC_Init(&htim5) != HAL_OK)
  {
    Error_Handler();
  }
  sSlaveConfig.SlaveMode = TIM_SLAVEMODE_RESET;
  sSlaveConfig.InputTrigger = TIM_TS_TI1FP1;
  sSlaveConfig.TriggerPolarity = TIM_INPUTCHANNELPOLARITY_RISING;
  sSlaveConfig.TriggerFilter = 0;
  if (HAL_TIM_SlaveConfigSynchro(&htim5, &sSlaveConfig) != HAL_OK)
  {
    Error_Handler();
  }
  sMasterConfig.MasterOutputTrigger = TIM_TRGO_RESET;
  sMasterConfig.MasterSlaveMode = TIM_MASTERSLAVEMODE_DISABLE;
  if (HAL_TIMEx_MasterConfigSynchronization(&htim5, &sMasterConfig) != HAL_OK)
  {
    Error_Handler();
  }
  sConfigIC.ICPolarity = TIM_INPUTCHANNELPOLARITY_RISING;
  sConfigIC.ICSelection = TIM_ICSELECTION_DIRECTTI;
  sConfigIC.ICPrescaler = TIM_ICPSC_DIV1;
  sConfigIC.ICFilter = 0;
  if (HAL_TIM_IC_ConfigChannel(&htim5, &sConfigIC, TIM_CHANNEL_1) != HAL_OK)
  {
    Error_Handler();
  }
  sConfigIC.ICPolarity = TIM_INPUTCHANNELPOLARITY_FALLING;
  sConfigIC.ICSelection = TIM_ICSELECTION_INDIRECTTI;
  if (HAL_TIM_IC_ConfigChannel(&htim5, &sConfigIC, TIM_CHANNEL_2) != HAL_OK)
  {
    Error_Handler();
  }

}

static void MX_TIM9_Init(void)
{

  TIM_SlaveConfigTypeDef sSlaveConfig = {0};
  TIM_IC_InitTypeDef sConfigIC = {0};

  htim9.Instance = TIM9;
  htim9.Init.Prescaler = 999;
  htim9.Init.CounterMode = TIM_COUNTERMODE_UP;
  htim9.Init.Period = 0xffff;
  htim9.Init.ClockDivision = TIM_CLOCKDIVISION_DIV1;
  htim9.Init.AutoReloadPreload = TIM_AUTORELOAD_PRELOAD_DISABLE;
  if (HAL_TIM_Base_Init(&htim9) != HAL_OK)
  {
    Error_Handler();
  }
  if (HAL_TIM_IC_Init(&htim9) != HAL_OK)
  {
    Error_Handler();
  }
  sSlaveConfig.SlaveMode = TIM_SLAVEMODE_RESET;
  sSlaveConfig.InputTrigger = TIM_TS_TI1FP1;
  sSlaveConfig.TriggerPolarity = TIM_INPUTCHANNELPOLARITY_RISING;
  sSlaveConfig.TriggerFilter = 0;
  if (HAL_TIM_SlaveConfigSynchro(&htim9, &sSlaveConfig) != HAL_OK)
  {
    Error_Handler();
  }
  sConfigIC.ICPolarity = TIM_INPUTCHANNELPOLARITY_RISING;
  sConfigIC.ICSelection = TIM_ICSELECTION_DIRECTTI;
  sConfigIC.ICPrescaler = TIM_ICPSC_DIV1;
  sConfigIC.ICFilter = 0;
  if (HAL_TIM_IC_ConfigChannel(&htim9, &sConfigIC, TIM_CHANNEL_1) != HAL_OK)
  {
    Error_Handler();
  }
  sConfigIC.ICPolarity = TIM_INPUTCHANNELPOLARITY_FALLING;
  sConfigIC.ICSelection = TIM_ICSELECTION_INDIRECTTI;
  if (HAL_TIM_IC_ConfigChannel(&htim9, &sConfigIC, TIM_CHANNEL_2) != HAL_OK)
  {
    Error_Handler();
  }

}

static void MX_TIM12_Init(void)
{

  TIM_SlaveConfigTypeDef sSlaveConfig = {0};
  TIM_IC_InitTypeDef sConfigIC = {0};

  htim12.Instance = TIM12;
  htim12.Init.Prescaler = 999;
  htim12.Init.CounterMode = TIM_COUNTERMODE_UP;
  htim12.Init.Period = 0xffff;
  htim12.Init.ClockDivision = TIM_CLOCKDIVISION_DIV1;
  htim12.Init.AutoReloadPreload = TIM_AUTORELOAD_PRELOAD_DISABLE;
  if (HAL_TIM_Base_Init(&htim12) != HAL_OK)
  {
    Error_Handler();
  }
  if (HAL_TIM_IC_Init(&htim12) != HAL_OK)
  {
    Error_Handler();
  }
  sSlaveConfig.SlaveMode = TIM_SLAVEMODE_RESET;
  sSlaveConfig.InputTrigger = TIM_TS_TI1FP1;
  sSlaveConfig.TriggerPolarity = TIM_INPUTCHANNELPOLARITY_RISING;
  sSlaveConfig.TriggerFilter = 0;
  if (HAL_TIM_SlaveConfigSynchro(&htim12, &sSlaveConfig) != HAL_OK)
  {
    Error_Handler();
  }
  sConfigIC.ICPolarity = TIM_INPUTCHANNELPOLARITY_RISING;
  sConfigIC.ICSelection = TIM_ICSELECTION_DIRECTTI;
  sConfigIC.ICPrescaler = TIM_ICPSC_DIV1;
  sConfigIC.ICFilter = 0;
  if (HAL_TIM_IC_ConfigChannel(&htim12, &sConfigIC, TIM_CHANNEL_1) != HAL_OK)
  {
    Error_Handler();
  }
  sConfigIC.ICPolarity = TIM_INPUTCHANNELPOLARITY_FALLING;
  sConfigIC.ICSelection = TIM_ICSELECTION_INDIRECTTI;
  if (HAL_TIM_IC_ConfigChannel(&htim12, &sConfigIC, TIM_CHANNEL_2) != HAL_OK)
  {
    Error_Handler();
  }

}

static void MX_UART4_Init(void)
{

  huart4.Instance = UART4;
  huart4.Init.BaudRate = 9600;
  huart4.Init.WordLength = UART_WORDLENGTH_8B;
  huart4.Init.StopBits = UART_STOPBITS_1;
  huart4.Init.Parity = UART_PARITY_NONE;
  huart4.Init.Mode = UART_MODE_TX_RX;
  huart4.Init.HwFlowCtl = UART_HWCONTROL_NONE;
  huart4.Init.OverSampling = UART_OVERSAMPLING_16;
  if (HAL_UART_Init(&huart4) != HAL_OK)
  {
    Error_Handler();
  }

}

static void MX_GPIO_Init(void)
{
  GPIO_InitTypeDef GPIO_InitStruct = {0};

  /* GPIO Ports Clock Enable */
  __HAL_RCC_GPIOE_CLK_ENABLE();
  __HAL_RCC_GPIOH_CLK_ENABLE();
  __HAL_RCC_GPIOA_CLK_ENABLE();
  __HAL_RCC_GPIOB_CLK_ENABLE();
  __HAL_RCC_GPIOD_CLK_ENABLE();
  __HAL_RCC_GPIOC_CLK_ENABLE();

  /*Configure GPIO pin Output Level */
  HAL_GPIO_WritePin(GPIOD, GPIO_PIN_12|GPIO_PIN_13|GPIO_PIN_14|GPIO_PIN_15, GPIO_PIN_RESET);

  /*Configure GPIO pins : PD12 PD13 PD14 PD15 */
  GPIO_InitStruct.Pin = GPIO_PIN_12|GPIO_PIN_13|GPIO_PIN_14|GPIO_PIN_15;
  GPIO_InitStruct.Mode = GPIO_MODE_OUTPUT_PP;
  GPIO_InitStruct.Pull = GPIO_NOPULL;
  GPIO_InitStruct.Speed = GPIO_SPEED_FREQ_VERY_HIGH;
  HAL_GPIO_Init(GPIOD, &GPIO_InitStruct);

}

void Error_Handler(void)
{
}

/************************ (C) COPYRIGHT STMicroelectronics *****END OF FILE****/
